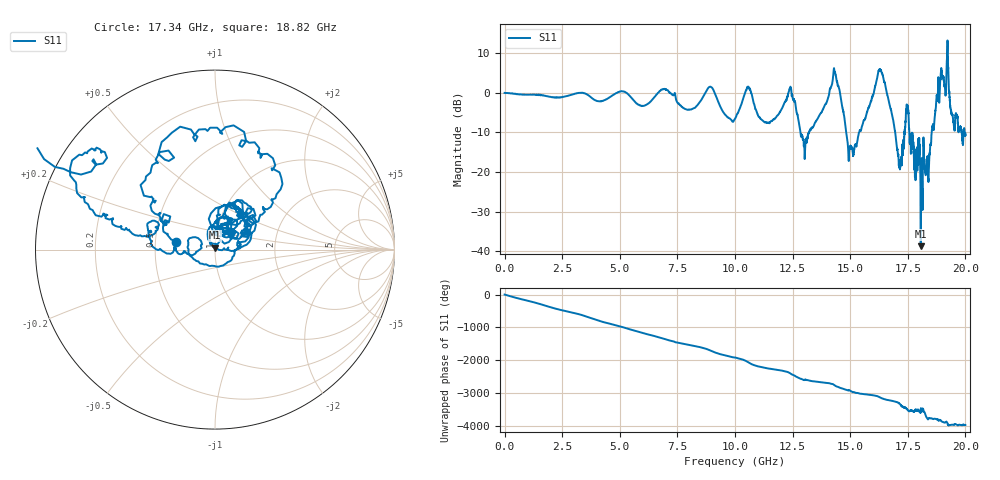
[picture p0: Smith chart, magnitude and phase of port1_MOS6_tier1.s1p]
! Created with skrf 1.8.0 (http://scikit-rf.org).
# GHz S RI R 50.0
!freq ReS11 ImS11
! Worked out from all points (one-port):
!   10000 points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, 3 MHz to 20 GHz, reference 50 ohm
!   lowest |S11| = -38.7 dB at 18.06 GHz (marker M1), VSWR 1.02, Z = 50 + j1.17 ohm
!   |S11| at or under -10 dB: 14.83 GHz to 15.39 GHz (558.7 MHz wide, 3.7 % of centre); 16.95 GHz to 17.35 GHz (399.4 MHz wide, 2.33 % of centre); 17.57 GHz to 18.54 GHz (971.4 MHz wide, 5.38 % of centre) (the widest 3 of 9)
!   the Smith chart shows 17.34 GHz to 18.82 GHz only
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0.0029999  0.9936 -0.0196
0.8669567  -0.9168 -0.2235
1.456927  0.0614 0.9464
1.896905  0.8885 -0.1172
2.502875  -0.4725 -0.7464
3.310834  -0.2122 0.9765
3.718814  0.8832 0.1093
4.210789  -0.2297 -0.7468
5.00275  -0.347 0.9764
5.498725  0.8669 0.0654
6.572671  -0.8728 0.3253
7.502625  0.6626 -0.3501
8.930554  -0.0186 1.194
10.0025  -0.2662 -0.386
10.57047  -0.1124 1.17
11.27644  0.0918 -0.4156
12.50237  0.2898 0.8262
13.60432  -0.4047 -0.2578
14.37228  0.1079 1.653
15.00225  0.1182 -0.1782
15.9222  -0.7893 0.1138
16.31218  -0.0754 1.916
16.82816  0.4999 -0.0674
17.50212  0.1902 0.5954
18.0641  0.000106 0.0117
19.00405  0.4687 1.534
19.32803  0.7162 -0.3667
20  0.2616 -0.1276
